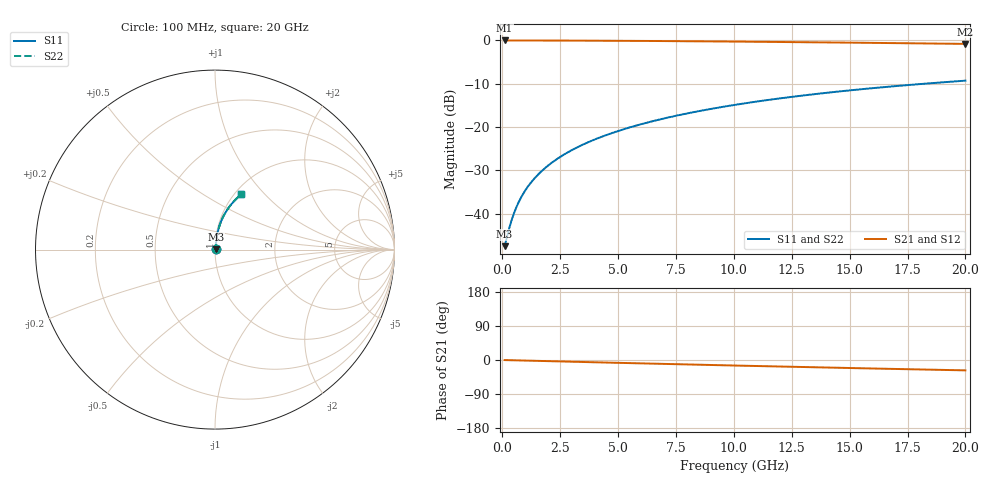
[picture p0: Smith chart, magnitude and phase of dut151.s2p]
! Touchstone file exported from HFSS 2024.1.0
!  File:  C:/UserFiles/LocalFiles/RDL_TSV_Batchsim/temp_RDL_bottom_151_1778697357.aedt
!  Generated:  02:38:48 AM May 14, 2026
!  Design:  RDL_bottom
!  Project:  temp_RDL_bottom_151_1778697357
!  Setup:  Setup1
!  Solution:  Sweep
! Variables:
!  dtsv = 10.80580581um
!  hbump = 3um
!  htsv = 74.46um
!  ldown = 309.88um
!  lrdl = 100um
!  p = 40
!  p1 = 47.11um
!  rhole = 1um
!  t = 450um
!  tdown = 2.48um
!  trdl = 3.915915916um
!  wdown = 12.38um
!  wrdl = 20um
# GHz S MA R 50.000000
! Terminal data exported
! Port[1] = RDL1_T1
! Port[2] = RDL1_T2
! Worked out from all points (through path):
!   200 points, 100 MHz to 20 GHz, reference 50 ohm
!   highest |S21| = -0.03 dB at 100 MHz (marker M1); lowest = -0.8 dB at 20 GHz (marker M2)
!   group delay of S21, straight-line fit = 3.8 ps
!   lowest |S11| = -47.5 dB at 100 MHz (marker M3), VSWR 1.01, Z = 50.4 + j0.187 ohm
!   |S11| at or under -10 dB: start of sweep to 18.28 GHz
!   |S22| runs from -47.5 to -9.3 dB; largest |S21 - S12| = 2e-15
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0.1  0.004199 26.3  0.9962 -0.2  0.9962 -0.2  0.004199 26.3
! Gamma 0 0 0 0
! Port Impedance 50 0 50 0
0.3  0.006757 55.1  0.9961 -0.5  0.9961 -0.5  0.006757 55.1
0.4  0.008347 61.8  0.9961 -0.6  0.9961 -0.6  0.008348 61.8
0.5  0.01001 66.3  0.996 -0.8  0.996 -0.8  0.01001 66.3
0.6  0.0117 69.4  0.9959 -0.9  0.9959 -0.9  0.0117 69.4
0.7  0.01341 71.8  0.9958 -1.1  0.9958 -1.1  0.01341 71.8
0.9  0.01687 75.0  0.9956 -1.4  0.9956 -1.4  0.01687 75.0
1.2  0.02211 77.8  0.9953 -1.8  0.9953 -1.8  0.02211 77.8
1.4  0.02562 79.0  0.995 -2.1  0.995 -2.1  0.02561 79.0
1.7  0.0309 80.2  0.9946 -2.6  0.9946 -2.6  0.0309 80.2
2.2  0.03973 81.3  0.9939 -3.3  0.9939 -3.3  0.03973 81.3
2.8  0.05037 81.9  0.9929 -4.2  0.9929 -4.2  0.05037 81.9
3.5  0.06283 82.1  0.9914 -5.3  0.9914 -5.3  0.06283 82.1
4.2  0.07533 82.0  0.9897 -6.3  0.9897 -6.3  0.07533 82.0
5  0.08966 81.6  0.9874 -7.5  0.9874 -7.5  0.08966 81.6
5.9  0.1058 80.9  0.9844 -8.8  0.9844 -8.8  0.1058 80.9
6.8  0.122 80.1  0.9811 -10.1  0.9811 -10.1  0.122 80.1
8.3  0.1488 78.6  0.9749 -12.2  0.9749 -12.2  0.1488 78.6
10.1  0.1807 76.5  0.9666 -14.7  0.9666 -14.7  0.1807 76.5
13.4  0.2377 72.5  0.9493 -19.1  0.9493 -19.1  0.2377 72.5
16.7  0.2916 68.5  0.9301 -23.3  0.9301 -23.3  0.2916 68.5
20  0.342 64.4  0.9094 -27.3  0.9094 -27.3  0.342 64.4
